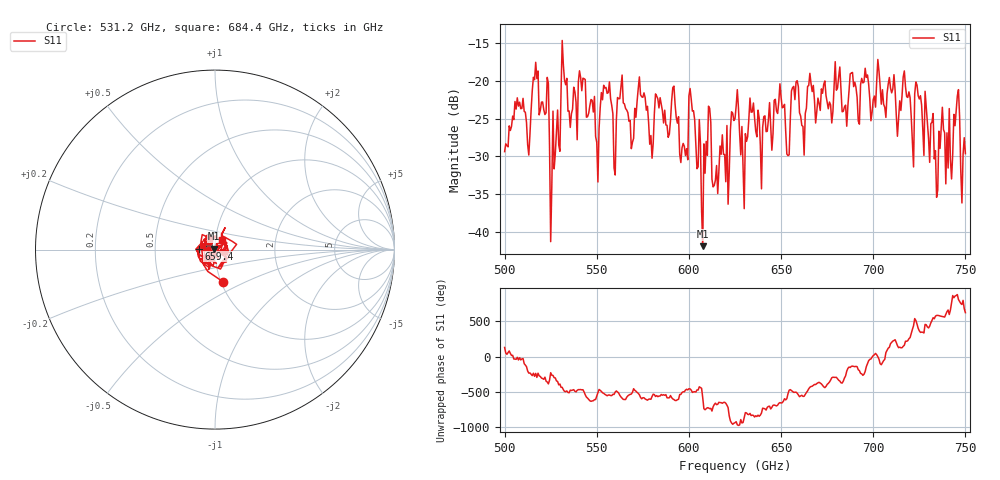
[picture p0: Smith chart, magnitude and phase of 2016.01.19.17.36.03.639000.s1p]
!Created with skrf (http://scikit-rf.org).
# GHz S RI R 50.0
!freq ReS11 ImS11
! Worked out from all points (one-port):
!   401 points, 500 GHz to 750 GHz, reference 50 ohm
!   lowest |S11| = -41.9 dB at 607.5 GHz (marker M1), VSWR 1.02, Z = 49.4 + j0.552 ohm
!   |S11| at or under -10 dB: start of sweep to end of sweep
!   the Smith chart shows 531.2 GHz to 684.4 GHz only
!   S11 on the Smith chart (normalised r, x): 531.2 GHz: 1.02, -0.38; 659.4 GHz: 0.83, +0.01; 684.4 GHz: 1.07, +0.12
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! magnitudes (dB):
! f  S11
! 500 GHz  -29.4
! 506.9 GHz  -22.2
! 513.1 GHz  -29.8
! 516.9 GHz  -17.5
! 526.2 GHz  -24.0
! 531.2 GHz  -14.6
! 550.6 GHz  -33.4
! 562.5 GHz  -22.3
! 568.8 GHz  -29.0
! 593.8 GHz  -25.6
! 598.1 GHz  -29.9
! 601.2 GHz  -22.4
! 607.5 GHz  -41.9
! 610.6 GHz  -23.3
! 614.4 GHz  -33.2
! 625 GHz  -25.0
! 629.4 GHz  -31.7
! 633.8 GHz  -24.1
! 650.6 GHz  -23.6
! 653.8 GHz  -29.9
! 656.2 GHz  -20.9
! 659.4 GHz  -20.8
! 684.4 GHz  -23.4
! 687.5 GHz  -19.0
! 718.8 GHz  -22.2
! 734.4 GHz  -35.4
! 745 GHz  -24.0
! 750 GHz  -29.6
